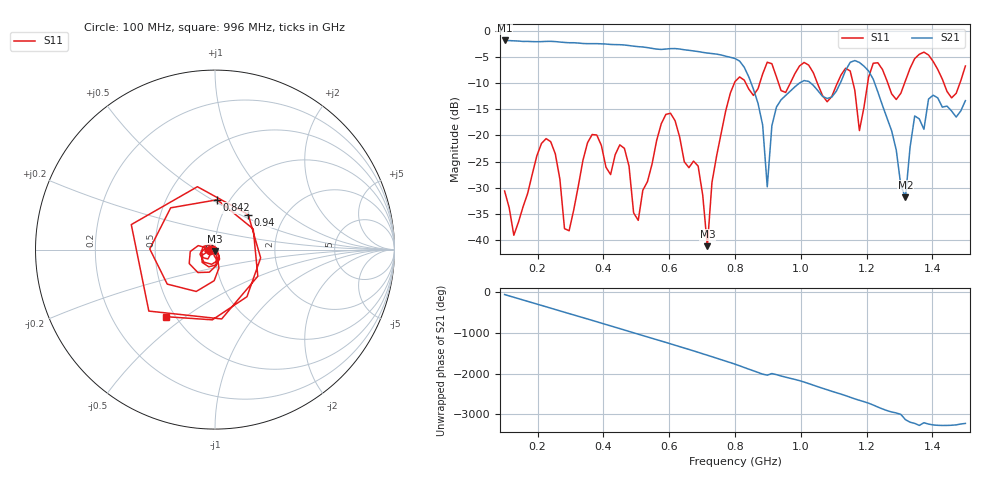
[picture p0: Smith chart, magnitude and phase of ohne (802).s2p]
! NanoVNA-App
! Date: 2025-09-25 14:27:02
! Start: 100MHz Stop: 1,5GHz Points: 101
! S-Parameter data: F S11 S21 S12 S22
# Hz S RI R 50
!  Frequency  S11_Real  S11_Imag  S21_Real  S21_Imag  S12_Real  S12_Imag  S22_Real  S22_Imag
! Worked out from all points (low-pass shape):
!   101 points, 100 MHz to 1.5 GHz, reference 50 ohm
!   highest |S21| = -1.79 dB at 100 MHz (marker M1); lowest = -31.8 dB at 1.318 GHz (marker M2)
!   |S21| within 3 dB of the highest: start of sweep to 770.7 MHz
!   lowest |S11| = -41.2 dB at 716 MHz (marker M3), VSWR 1.02, Z = 49.8 - j0.833 ohm
!   |S11| at or under -10 dB: start of sweep to 797.9 MHz; 833 MHz to 875.1 MHz (42.15 MHz wide, 4.94 % of centre); 1.05 GHz to 1.111 GHz (60.22 MHz wide, 5.57 % of centre) (the widest 3 of 7)
!   S12 and S22 are empty: the file has one direction only
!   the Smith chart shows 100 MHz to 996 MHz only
!   S11 on the Smith chart (normalised r, x): 100 MHz: 0.94, -0.01; 842 MHz: 0.88, +0.53; 940 MHz: 1.32, +0.56; 996 MHz: 0.45, -0.42
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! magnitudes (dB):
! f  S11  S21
! 100 MHz  -30.6  -1.8
! 128 MHz  -39.1  -1.9
! 226 MHz  -20.6  -2.0
! 296 MHz  -38.3  -2.2
! 338 MHz  -24.8  -2.4
! 464 MHz  -22.5  -2.7
! 506 MHz  -36.3  -3.0
! 576 MHz  -17.7  -3.5
! 688 MHz  -25.9  -3.9
! 716 MHz  -41.2  -4.2
! 800 MHz  -9.7  -5.3
! 842 MHz  -11.1  -8.8
! 898 MHz  -6.0  -29.8
! 940 MHz  -11.4  -13.2
! 996 MHz  -6.7  -9.9
! 1.038 GHz  -8.0  -10.4
! 1.178 GHz  -19.1  -6.0
! 1.22 GHz  -6.2  -9.2
! 1.276 GHz  -12.0  -19.1
! 1.318 GHz  -9.5  -31.8
! 1.346 GHz  -5.3  -16.3
! 1.5 GHz  -6.7  -13.3
